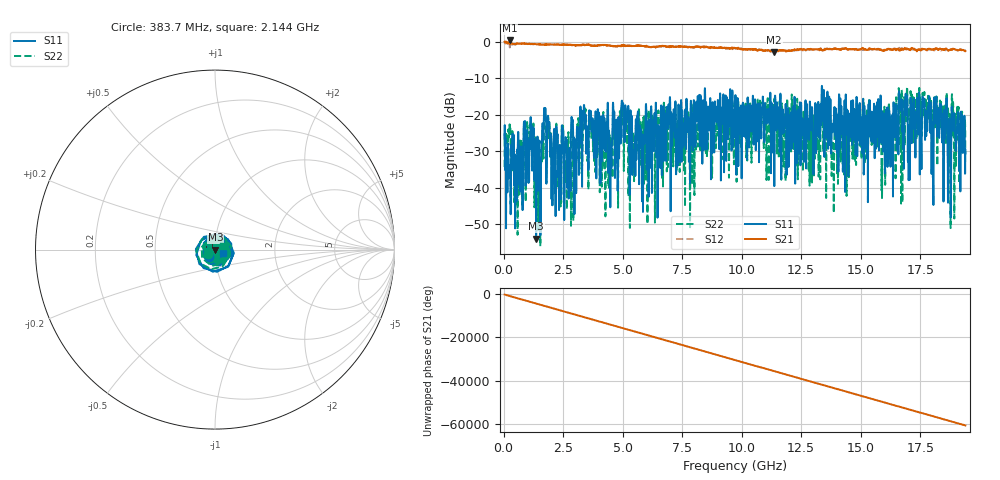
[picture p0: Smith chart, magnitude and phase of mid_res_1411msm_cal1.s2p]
!Agilent Technologies,E8364A,US41440322,A.04.87.01
!Agilent E8364A: A.04.87.01
!Date: Tuesday, July 09, 2024 14:49:44
!Correction: S11(Full 2 Port SOLT,1,2) S21(Full 2 Port SOLT,1,2) S12(Full 2 Port SOLT,1,2) S22(Full 2 Port SOLT,1,2)
!S2P File: Measurements: S11, S21, S12, S22:
# Hz S  dB  R 50
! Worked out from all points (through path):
!   3201 points, 45 MHz to 19.4 GHz, reference 50 ohm
!   highest |S21| = 0.37 dB at 256.7 MHz (marker M1); lowest = -2.8 dB at 11.37 GHz (marker M2)
!   lowest |S11| = -54.0 dB at 1.37 GHz (marker M3), VSWR 1.00, Z = 50.2 - j0.0819 ohm
!   |S11| at or under -10 dB: start of sweep to end of sweep
!   |S22| runs from -56.1 to -12.3 dB; largest |S21 - S12| = 0.27
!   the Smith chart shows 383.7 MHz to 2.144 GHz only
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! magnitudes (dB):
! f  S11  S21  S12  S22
! 45 MHz  -26.5  0.0  -0.3  -34.4
! 256.7 MHz  -34.5  0.4  -1.4  -22.6
! 498.6 MHz  -32.8  -0.6  -0.7  -33.4
! 1.176 GHz  -23.4  -0.6  -0.6  -25.3
! 1.37 GHz  -54.0  -0.7  -0.7  -37.8
! 1.527 GHz  -33.8  -0.7  -0.8  -33.4
! 1.793 GHz  -21.7  -0.8  -0.8  -26.2
! 2.337 GHz  -36.6  -0.8  -0.8  -33.5
! 3.275 GHz  -18.8  -0.9  -0.9  -26.5
! 3.414 GHz  -23.8  -0.9  -0.8  -19.7
! 4.49 GHz  -37.8  -1.1  -1.1  -34.4
! 4.938 GHz  -21.3  -1.1  -1.1  -20.0
! 5.391 GHz  -23.0  -1.2  -1.2  -28.0
! 5.633 GHz  -20.0  -1.1  -1.1  -19.6
! 6.498 GHz  -22.9  -1.3  -1.3  -19.0
! 8.186 GHz  -20.7  -1.4  -1.3  -20.8
! 9.722 GHz  -18.8  -1.7  -1.8  -24.0
! 11.37 GHz  -39.6  -2.8  -2.7  -15.6
! 12.95 GHz  -18.7  -2.0  -2.1  -31.3
! 16.18 GHz  -31.9  -1.9  -2.1  -18.1
! 17.46 GHz  -14.1  -2.2  -2.1  -13.0
! 19.4 GHz  -29.6  -2.5  -2.3  -31.0
